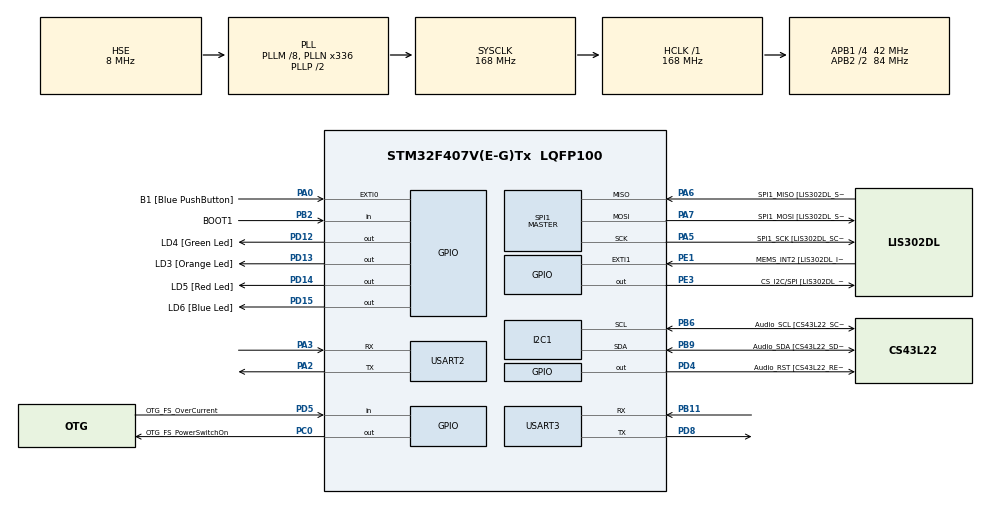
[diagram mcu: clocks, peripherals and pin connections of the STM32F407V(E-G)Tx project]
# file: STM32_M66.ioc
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Mcu.Family=STM32F4
Mcu.Name=STM32F407V(E-G)Tx
Mcu.Package=LQFP100
NVIC.PriorityGroup=NVIC_PRIORITYGROUP_0
NVIC.USART2_IRQn=true\:0\:0\:false\:false\:true\:true\:true\:true
NVIC.USART3_IRQn=true\:0\:0\:false\:false\:true\:true\:true\:true
PA0-WKUP.GPIO_Label=B1 [Blue PushButton]
PA0-WKUP.GPIO_ModeDefaultEXTI=GPIO_MODE_EVT_RISING
PA0-WKUP.GPIO_PuPd=GPIO_NOPULL
PA0-WKUP.Signal=GPXTI0
PA10.GPIO_Label=OTG_FS_ID
PA10.GPIO_Mode=GPIO_MODE_AF_PP
PA10.GPIO_PuPd=GPIO_NOPULL
PA10.GPIO_Speed=GPIO_SPEED_FREQ_LOW
PA10.Signal=USB_OTG_FS_ID
PA11.GPIO_Label=OTG_FS_DM
PA11.GPIO_Mode=GPIO_MODE_AF_PP
PA11.GPIO_PuPd=GPIO_NOPULL
PA11.GPIO_Speed=GPIO_SPEED_FREQ_LOW
PA11.Signal=USB_OTG_FS_DM
PA12.GPIO_Label=OTG_FS_DP
PA12.GPIO_Mode=GPIO_MODE_AF_PP
PA12.GPIO_PuPd=GPIO_NOPULL
PA12.GPIO_Speed=GPIO_SPEED_FREQ_LOW
PA12.Signal=USB_OTG_FS_DP
PA13.GPIO_Label=SWDIO
PA13.Mode=Serial_Wire
PA13.Signal=SYS_JTMS-SWDIO
PA14.GPIO_Label=SWCLK
PA14.Mode=Serial_Wire
PA14.Signal=SYS_JTCK-SWCLK
PA2.Mode=Asynchronous
PA2.Signal=USART2_TX
PA3.Mode=Asynchronous
PA3.Signal=USART2_RX
PA4.GPIO_Label=I2S3_WS [CS43L22_LRCK]
PA4.GPIO_Mode=GPIO_MODE_AF_PP
PA4.GPIO_PuPd=GPIO_NOPULL
PA4.GPIO_Speed=GPIO_SPEED_FREQ_LOW
PA4.Signal=I2S3_WS
PA5.GPIO_Label=SPI1_SCK [LIS302DL_SCL/SPC]
PA5.GPIO_Mode=GPIO_MODE_AF_PP
PA5.GPIO_PuPd=GPIO_NOPULL
PA5.GPIO_Speed=GPIO_SPEED_FREQ_LOW
PA5.Mode=Full_Duplex_Master
PA5.Signal=SPI1_SCK
PA6.GPIO_Label=SPI1_MISO [LIS302DL_SDO]
PA6.GPIO_Mode=GPIO_MODE_AF_PP
PA6.GPIO_PuPd=GPIO_NOPULL
PA6.GPIO_Speed=GPIO_SPEED_FREQ_LOW
PA6.Mode=Full_Duplex_Master
PA6.Signal=SPI1_MISO
PA7.GPIO_Label=SPI1_MOSI [LIS302DL_SDA/SDI/SDO]
PA7.GPIO_Mode=GPIO_MODE_AF_PP
PA7.GPIO_PuPd=GPIO_NOPULL
PA7.GPIO_Speed=GPIO_SPEED_FREQ_LOW
PA7.Mode=Full_Duplex_Master
PA7.Signal=SPI1_MOSI
PA9.GPIO_Label=VBUS_FS
PA9.GPIO_Mode=GPIO_MODE_INPUT
PA9.GPIO_PuPd=GPIO_NOPULL
PA9.Signal=USB_OTG_FS_VBUS
PB10.GPIO_Label=CLK_IN [MP45DT02_CLK]
PB10.GPIO_Mode=GPIO_MODE_AF_PP
PB10.GPIO_PuPd=GPIO_NOPULL
PB10.GPIO_Speed=GPIO_SPEED_FREQ_LOW
PB10.Signal=I2S2_CK
PB11.Mode=Asynchronous
PB11.Signal=USART3_RX
PB2.GPIO_Label=BOOT1
PB2.GPIO_Mode=GPIO_MODE_INPUT
PB2.GPIO_PuPd=GPIO_NOPULL
PB2.Signal=GPIO_Input
PB3.GPIO_Label=SWO
PB3.Signal=SYS_JTDO-SWO
PB6.GPIO_Label=Audio_SCL [CS43L22_SCL]
PB6.GPIO_Mode=GPIO_MODE_AF_OD
PB6.GPIO_Pu=GPIO_PULLUP
PB6.GPIO_PuPd=GPIO_NOPULL
PB6.GPIO_Speed=GPIO_SPEED_FREQ_LOW
PB6.Mode=I2C
PB6.Signal=I2C1_SCL
PB9.GPIO_Label=Audio_SDA [CS43L22_SDA]
PB9.GPIO_Mode=GPIO_MODE_AF_OD
PB9.GPIO_Pu=GPIO_PULLUP
PB9.GPIO_PuPd=GPIO_NOPULL
PB9.GPIO_Speed=GPIO_SPEED_FREQ_LOW
PB9.Mode=I2C
PB9.Signal=I2C1_SDA
PC0.GPIO_Label=OTG_FS_PowerSwitchOn
PC0.GPIO_PuPd=GPIO_NOPULL
PC0.GPIO_Speed=GPIO_SPEED_FREQ_LOW
PC0.PinState=GPIO_PIN_SET
PC0.Signal=GPIO_Output
PC10.GPIO_Label=I2S3_SCK [CS43L22_SCLK]
PC10.GPIO_Mode=GPIO_MODE_AF_PP
PC10.GPIO_PuPd=GPIO_NOPULL
PC10.GPIO_Speed=GPIO_SPEED_FREQ_LOW
PC10.Signal=I2S3_CK
PC12.GPIO_Label=I2S3_SD [CS43L22_SDIN]
PC12.GPIO_Mode=GPIO_MODE_AF_PP
PC12.GPIO_PuPd=GPIO_NOPULL
PC12.GPIO_Speed=GPIO_SPEED_FREQ_LOW
PC12.Signal=I2S3_SD
PC14-OSC32_IN.GPIO_Label=PC14-OSC32_IN
PC14-OSC32_IN.Mode=LSE-External-Oscillator
PC14-OSC32_IN.Signal=RCC_OSC32_IN
PC15-OSC32_OUT.GPIO_Label=PC15-OSC32_OUT
PC15-OSC32_OUT.Mode=LSE-External-Oscillator
PC15-OSC32_OUT.Signal=RCC_OSC32_OUT
PC3.GPIO_Label=PDM_OUT [MP45DT02_DOUT]
PC3.GPIO_Mode=GPIO_MODE_AF_PP
PC3.GPIO_PuPd=GPIO_NOPULL
PC3.GPIO_Speed=GPIO_SPEED_FREQ_LOW
PC3.Signal=I2S2_SD
PC7.GPIO_Label=I2S3_MCK [CS43L22_MCLK]
PC7.GPIO_Mode=GPIO_MODE_AF_PP
PC7.GPIO_PuPd=GPIO_NOPULL
PC7.GPIO_Speed=GPIO_SPEED_FREQ_LOW
PC7.Signal=I2S3_MCK
PD12.GPIO_Label=LD4 [Green Led]
PD12.GPIO_PuPd=GPIO_NOPULL
PD12.GPIO_Speed=GPIO_SPEED_FREQ_LOW
PD12.Signal=GPIO_Output
PD13.GPIO_Label=LD3 [Orange Led]
PD13.GPIO_PuPd=GPIO_NOPULL
PD13.GPIO_Speed=GPIO_SPEED_FREQ_LOW
PD13.Signal=GPIO_Output
PD14.GPIO_Label=LD5 [Red Led]
PD14.GPIO_PuPd=GPIO_NOPULL
PD14.GPIO_Speed=GPIO_SPEED_FREQ_LOW
PD14.Signal=GPIO_Output
PD15.GPIO_Label=LD6 [Blue Led]
PD15.GPIO_PuPd=GPIO_NOPULL
PD15.GPIO_Speed=GPIO_SPEED_FREQ_LOW
PD15.Signal=GPIO_Output
PD4.GPIO_Label=Audio_RST [CS43L22_RESET]
PD4.GPIO_PuPd=GPIO_NOPULL
PD4.GPIO_Speed=GPIO_SPEED_FREQ_LOW
PD4.Signal=GPIO_Output
PD5.GPIO_Label=OTG_FS_OverCurrent
PD5.GPIO_Mode=GPIO_MODE_INPUT
PD5.GPIO_PuPd=GPIO_NOPULL
PD5.Signal=GPIO_Input
PD8.Mode=Asynchronous
PD8.Signal=USART3_TX
PE1.GPIO_Label=MEMS_INT2 [LIS302DL_INT2]
PE1.GPIO_ModeDefaultEXTI=GPIO_MODE_EVT_RISING
PE1.GPIO_PuPd=GPIO_NOPULL
PE1.Signal=GPXTI1
PE3.GPIO_Label=CS_I2C/SPI [LIS302DL_CS_I2C/SPI]
PE3.GPIO_PuPd=GPIO_NOPULL
PE3.GPIO_Speed=GPIO_SPEED_FREQ_LOW
PE3.Signal=GPIO_Output
PH0-OSC_IN.GPIO_Label=PH0-OSC_IN
PH0-OSC_IN.Mode=HSE-External-Oscillator
PH0-OSC_IN.Signal=RCC_OSC_IN
PH1-OSC_OUT.GPIO_Label=PH1-OSC_OUT
PH1-OSC_OUT.Mode=HSE-External-Oscillator
PH1-OSC_OUT.Signal=RCC_OSC_OUT
ProjectManager.HeapSize=0x200
ProjectManager.StackSize=0x400
ProjectManager.TargetToolchain=STM32CubeIDE
RCC.48MHZClocksFreq_Value=48000000
RCC.AHBFreq_Value=168000000
RCC.APB1CLKDivider=RCC_HCLK_DIV4
RCC.APB1Freq_Value=42000000
RCC.APB1TimFreq_Value=84000000
RCC.APB2CLKDivider=RCC_HCLK_DIV2
RCC.APB2Freq_Value=84000000
RCC.APB2TimFreq_Value=168000000
RCC.CortexFreq_Value=168000000
RCC.HCLKFreq_Value=168000000
RCC.HSE_VALUE=8000000
RCC.HSI_VALUE=16000000
RCC.PLLM=8
RCC.PLLN=336
RCC.PLLQ=7
RCC.PLLSourceVirtual=RCC_PLLSOURCE_HSE
RCC.SYSCLKFreq_VALUE=168000000
RCC.SYSCLKSource=RCC_SYSCLKSOURCE_PLLCLK
RCC.VCOOutputFreq_Value=336000000
SPI1.BaudRatePrescaler-Full_Duplex_Master=SPI_BAUDRATEPRESCALER_2
SPI1.CalculateBaudRate-Full_Duplex_Master=42.0 MBits/s
SPI1.Direction=SPI_DIRECTION_2LINES
SPI1.Mode=SPI_MODE_MASTER
SPI1.Mode-Full_Duplex_Master=SPI_MODE_MASTER
SPI1.VirtualType=VM_MASTER
USART2.VirtualMode=VM_ASYNC
USART3.VirtualMode=VM_ASYNC
board=STM32F407G-DISC1

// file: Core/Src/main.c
/* USER CODE BEGIN Header */
/**
  ******************************************************************************
  * @file           : main.c
  * @brief          : Main program body
  ******************************************************************************
  * @attention
  *
  * Copyright (c) 2023 STMicroelectronics.
  * All rights reserved.
  *
  * This software is licensed under terms that can be found in the LICENSE file
  * in the root directory of this software component.
  * If no LICENSE file comes with this software, it is provided AS-IS.
  *
  ******************************************************************************
  */
/* USER CODE END Header */
#include "main.h"

/* USER CODE BEGIN Includes */
#include "stm32f4xx_hal.h"
#include "M66.h"
#include <string.h>
#include "stdbool.h"
#include "at_commands.h"

/* USER CODE END Includes */

/* USER CODE BEGIN PD */
// Define the maximum size of the firmware buffer

const char* url ;
/* USER CODE END PD */

I2C_HandleTypeDef hi2c1;

SPI_HandleTypeDef hspi1;

UART_HandleTypeDef huart2;
UART_HandleTypeDef huart3;

void SystemClock_Config(void);
static void MX_GPIO_Init(void);
static void MX_I2C1_Init(void);
static void MX_SPI1_Init(void);
static void MX_USART2_UART_Init(void);
static void MX_USART3_UART_Init(void);
/* USER CODE BEGIN PFP */
void modem_setup(void);
/* USER CODE END PFP */

/* USER CODE BEGIN 0 */
void LED_Init(void) {
    // Enable the GPIOD clock
    RCC->AHB1ENR |= RCC_AHB1ENR_GPIODEN;

    // Initialize PD12 as an output
    GPIOD->MODER &= ~GPIO_MODER_MODER12;   // Clear the mode bits for PD12
    GPIOD->MODER |= GPIO_MODER_MODER12_0;  // Set PD12 as output
}

void LED_Toggle(void) {
    GPIOD->ODR ^= GPIO_ODR_OD12;  // Toggle the output on PD12
}

/* USER CODE END 0 */

int main(void)
{
  /* USER CODE BEGIN 1 */
  // Set the VTOR to the application's start address
  SCB->VTOR = APP_START_ADDR;
  /* USER CODE END 1 */

  /* MCU Configuration--------------------------------------------------------*/

  /* Reset of all peripherals, Initializes the Flash interface and the Systick. */
  HAL_Init();

  /* USER CODE BEGIN Init */
  LED_Init();
  /* USER CODE END Init */

  /* Configure the system clock */
  SystemClock_Config();

  /* Initialize all configured peripherals */
  MX_GPIO_Init();
  MX_I2C1_Init();
  MX_SPI1_Init();
  MX_USART2_UART_Init();
  MX_USART3_UART_Init();
  /* USER CODE BEGIN 2 */
  modem_setup();

//  HAL_UART_Receive_IT(&huart2, (uint8_t*)uart_rx_buffer, 180);

  /* USER CODE END 2 */

  /* Infinite loop */
  while (1)
  {
//	  HAL_UART_Receive_IT(&huart2, (uint8_t*)uart_rx_buffer, 170);

    /* USER CODE BEGIN 3 */

    firmware_update_handler();
//     Toggle the LED
    LED_Toggle();

    // Simple delay
    HAL_Delay(1000);

  /* USER CODE END 3 */
  }
}

void SystemClock_Config(void)
{
  RCC_OscInitTypeDef RCC_OscInitStruct = {0};
  RCC_ClkInitTypeDef RCC_ClkInitStruct = {0};

  /** Configure the main internal regulator output voltage
  */
  __HAL_RCC_PWR_CLK_ENABLE();
  __HAL_PWR_VOLTAGESCALING_CONFIG(PWR_REGULATOR_VOLTAGE_SCALE1);

  /** Initializes the RCC Oscillators according to the specified parameters
  * in the RCC_OscInitTypeDef structure.
  */
  RCC_OscInitStruct.OscillatorType = RCC_OSCILLATORTYPE_HSE;
  RCC_OscInitStruct.HSEState = RCC_HSE_ON;
  RCC_OscInitStruct.PLL.PLLState = RCC_PLL_ON;
  RCC_OscInitStruct.PLL.PLLSource = RCC_PLLSOURCE_HSE;
  RCC_OscInitStruct.PLL.PLLM = 8;
  RCC_OscInitStruct.PLL.PLLN = 336;
  RCC_OscInitStruct.PLL.PLLP = RCC_PLLP_DIV2;
  RCC_OscInitStruct.PLL.PLLQ = 7;
  if (HAL_RCC_OscConfig(&RCC_OscInitStruct) != HAL_OK)
  {
    Error_Handler();
  }

  /** Initializes the CPU, AHB and APB buses clocks
  */
  RCC_ClkInitStruct.ClockType = RCC_CLOCKTYPE_HCLK|RCC_CLOCKTYPE_SYSCLK
                              |RCC_CLOCKTYPE_PCLK1|RCC_CLOCKTYPE_PCLK2;
  RCC_ClkInitStruct.SYSCLKSource = RCC_SYSCLKSOURCE_PLLCLK;
  RCC_ClkInitStruct.AHBCLKDivider = RCC_SYSCLK_DIV1;
  RCC_ClkInitStruct.APB1CLKDivider = RCC_HCLK_DIV4;
  RCC_ClkInitStruct.APB2CLKDivider = RCC_HCLK_DIV2;

  if (HAL_RCC_ClockConfig(&RCC_ClkInitStruct, FLASH_LATENCY_5) != HAL_OK)
  {
    Error_Handler();
  }
}

static void MX_I2C1_Init(void)
{

  hi2c1.Instance = I2C1;
  hi2c1.Init.ClockSpeed = 100000;
  hi2c1.Init.DutyCycle = I2C_DUTYCYCLE_2;
  hi2c1.Init.OwnAddress1 = 0;
  hi2c1.Init.AddressingMode = I2C_ADDRESSINGMODE_7BIT;
  hi2c1.Init.DualAddressMode = I2C_DUALADDRESS_DISABLE;
  hi2c1.Init.OwnAddress2 = 0;
  hi2c1.Init.GeneralCallMode = I2C_GENERALCALL_DISABLE;
  hi2c1.Init.NoStretchMode = I2C_NOSTRETCH_DISABLE;
  if (HAL_I2C_Init(&hi2c1) != HAL_OK)
  {
    Error_Handler();
  }

}

	static void MX_SPI1_Init(void)
	{

	  /* SPI1 parameter configuration*/
	  hspi1.Instance = SPI1;
	  hspi1.Init.Mode = SPI_MODE_MASTER;
	  hspi1.Init.Direction = SPI_DIRECTION_2LINES;
	  hspi1.Init.DataSize = SPI_DATASIZE_8BIT;
	  hspi1.Init.CLKPolarity = SPI_POLARITY_LOW;
	  hspi1.Init.CLKPhase = SPI_PHASE_1EDGE;
	  hspi1.Init.NSS = SPI_NSS_SOFT;
	  hspi1.Init.BaudRatePrescaler = SPI_BAUDRATEPRESCALER_2;
	  hspi1.Init.FirstBit = SPI_FIRSTBIT_MSB;
	  hspi1.Init.TIMode = SPI_TIMODE_DISABLE;
	  hspi1.Init.CRCCalculation = SPI_CRCCALCULATION_DISABLE;
	  hspi1.Init.CRCPolynomial = 10;
	  if (HAL_SPI_Init(&hspi1) != HAL_OK)
	  {
		Error_Handler();
	  }

	}

static void MX_USART2_UART_Init(void)
{

  huart2.Instance = USART2;
  huart2.Init.BaudRate = 115200;
  huart2.Init.WordLength = UART_WORDLENGTH_8B;
  huart2.Init.StopBits = UART_STOPBITS_1;
  huart2.Init.Parity = UART_PARITY_NONE;
  huart2.Init.Mode = UART_MODE_TX_RX;
  huart2.Init.HwFlowCtl = UART_HWCONTROL_NONE;
  huart2.Init.OverSampling = UART_OVERSAMPLING_16;
  if (HAL_UART_Init(&huart2) != HAL_OK)
  {
    Error_Handler();
  }

}

static void MX_USART3_UART_Init(void)
{

  huart3.Instance = USART3;
  huart3.Init.BaudRate = 115200;
  huart3.Init.WordLength = UART_WORDLENGTH_8B;
  huart3.Init.StopBits = UART_STOPBITS_1;
  huart3.Init.Parity = UART_PARITY_NONE;
  huart3.Init.Mode = UART_MODE_TX_RX;
  huart3.Init.HwFlowCtl = UART_HWCONTROL_NONE;
  huart3.Init.OverSampling = UART_OVERSAMPLING_16;
  if (HAL_UART_Init(&huart3) != HAL_OK)
  {
    Error_Handler();
  }

}

static void MX_GPIO_Init(void)
{
  GPIO_InitTypeDef GPIO_InitStruct = {0};

  /* GPIO Ports Clock Enable */
  __HAL_RCC_GPIOE_CLK_ENABLE();
  __HAL_RCC_GPIOC_CLK_ENABLE();
  __HAL_RCC_GPIOH_CLK_ENABLE();
  __HAL_RCC_GPIOA_CLK_ENABLE();
  __HAL_RCC_GPIOB_CLK_ENABLE();
  __HAL_RCC_GPIOD_CLK_ENABLE();

  /*Configure GPIO pin Output Level */
  HAL_GPIO_WritePin(CS_I2C_SPI_GPIO_Port, CS_I2C_SPI_Pin, GPIO_PIN_RESET);

  /*Configure GPIO pin Output Level */
  HAL_GPIO_WritePin(OTG_FS_PowerSwitchOn_GPIO_Port, OTG_FS_PowerSwitchOn_Pin, GPIO_PIN_SET);

  /*Configure GPIO pin Output Level */
  HAL_GPIO_WritePin(GPIOD, LD4_Pin|LD3_Pin|LD5_Pin|LD6_Pin
                          |Audio_RST_Pin, GPIO_PIN_RESET);

  /*Configure GPIO pin : CS_I2C_SPI_Pin */
  GPIO_InitStruct.Pin = CS_I2C_SPI_Pin;
  GPIO_InitStruct.Mode = GPIO_MODE_OUTPUT_PP;
  GPIO_InitStruct.Pull = GPIO_NOPULL;
  GPIO_InitStruct.Speed = GPIO_SPEED_FREQ_LOW;
  HAL_GPIO_Init(CS_I2C_SPI_GPIO_Port, &GPIO_InitStruct);

  /*Configure GPIO pin : OTG_FS_PowerSwitchOn_Pin */
  GPIO_InitStruct.Pin = OTG_FS_PowerSwitchOn_Pin;
  GPIO_InitStruct.Mode = GPIO_MODE_OUTPUT_PP;
  GPIO_InitStruct.Pull = GPIO_NOPULL;
  GPIO_InitStruct.Speed = GPIO_SPEED_FREQ_LOW;
  HAL_GPIO_Init(OTG_FS_PowerSwitchOn_GPIO_Port, &GPIO_InitStruct);

  /*Configure GPIO pin : PDM_OUT_Pin */
  GPIO_InitStruct.Pin = PDM_OUT_Pin;
  GPIO_InitStruct.Mode = GPIO_MODE_AF_PP;
  GPIO_InitStruct.Pull = GPIO_NOPULL;
  GPIO_InitStruct.Speed = GPIO_SPEED_FREQ_LOW;
  GPIO_InitStruct.Alternate = GPIO_AF5_SPI2;
  HAL_GPIO_Init(PDM_OUT_GPIO_Port, &GPIO_InitStruct);

  /*Configure GPIO pin : B1_Pin */
  GPIO_InitStruct.Pin = B1_Pin;
  GPIO_InitStruct.Mode = GPIO_MODE_EVT_RISING;
  GPIO_InitStruct.Pull = GPIO_NOPULL;
  HAL_GPIO_Init(B1_GPIO_Port, &GPIO_InitStruct);

  /*Configure GPIO pin : I2S3_WS_Pin */
  GPIO_InitStruct.Pin = I2S3_WS_Pin;
  GPIO_InitStruct.Mode = GPIO_MODE_AF_PP;
  GPIO_InitStruct.Pull = GPIO_NOPULL;
  GPIO_InitStruct.Speed = GPIO_SPEED_FREQ_LOW;
  GPIO_InitStruct.Alternate = GPIO_AF6_SPI3;
  HAL_GPIO_Init(I2S3_WS_GPIO_Port, &GPIO_InitStruct);

  /*Configure GPIO pin : BOOT1_Pin */
  GPIO_InitStruct.Pin = BOOT1_Pin;
  GPIO_InitStruct.Mode = GPIO_MODE_INPUT;
  GPIO_InitStruct.Pull = GPIO_NOPULL;
  HAL_GPIO_Init(BOOT1_GPIO_Port, &GPIO_InitStruct);

  /*Configure GPIO pin : CLK_IN_Pin */
  GPIO_InitStruct.Pin = CLK_IN_Pin;
  GPIO_InitStruct.Mode = GPIO_MODE_AF_PP;
  GPIO_InitStruct.Pull = GPIO_NOPULL;
  GPIO_InitStruct.Speed = GPIO_SPEED_FREQ_LOW;
  GPIO_InitStruct.Alternate = GPIO_AF5_SPI2;
  HAL_GPIO_Init(CLK_IN_GPIO_Port, &GPIO_InitStruct);

  /*Configure GPIO pins : LD4_Pin LD3_Pin LD5_Pin LD6_Pin
                           Audio_RST_Pin */
  GPIO_InitStruct.Pin = LD4_Pin|LD3_Pin|LD5_Pin|LD6_Pin
                          |Audio_RST_Pin;
  GPIO_InitStruct.Mode = GPIO_MODE_OUTPUT_PP;
  GPIO_InitStruct.Pull = GPIO_NOPULL;
  GPIO_InitStruct.Speed = GPIO_SPEED_FREQ_LOW;
  HAL_GPIO_Init(GPIOD, &GPIO_InitStruct);

  /*Configure GPIO pins : I2S3_MCK_Pin I2S3_SCK_Pin I2S3_SD_Pin */
  GPIO_InitStruct.Pin = I2S3_MCK_Pin|I2S3_SCK_Pin|I2S3_SD_Pin;
  GPIO_InitStruct.Mode = GPIO_MODE_AF_PP;
  GPIO_InitStruct.Pull = GPIO_NOPULL;
  GPIO_InitStruct.Speed = GPIO_SPEED_FREQ_LOW;
  GPIO_InitStruct.Alternate = GPIO_AF6_SPI3;
  HAL_GPIO_Init(GPIOC, &GPIO_InitStruct);

  /*Configure GPIO pin : VBUS_FS_Pin */
  GPIO_InitStruct.Pin = VBUS_FS_Pin;
  GPIO_InitStruct.Mode = GPIO_MODE_INPUT;
  GPIO_InitStruct.Pull = GPIO_NOPULL;
  HAL_GPIO_Init(VBUS_FS_GPIO_Port, &GPIO_InitStruct);

  /*Configure GPIO pins : OTG_FS_ID_Pin OTG_FS_DM_Pin OTG_FS_DP_Pin */
  GPIO_InitStruct.Pin = OTG_FS_ID_Pin|OTG_FS_DM_Pin|OTG_FS_DP_Pin;
  GPIO_InitStruct.Mode = GPIO_MODE_AF_PP;
  GPIO_InitStruct.Pull = GPIO_NOPULL;
  GPIO_InitStruct.Speed = GPIO_SPEED_FREQ_LOW;
  GPIO_InitStruct.Alternate = GPIO_AF10_OTG_FS;
  HAL_GPIO_Init(GPIOA, &GPIO_InitStruct);

  /*Configure GPIO pin : OTG_FS_OverCurrent_Pin */
  GPIO_InitStruct.Pin = OTG_FS_OverCurrent_Pin;
  GPIO_InitStruct.Mode = GPIO_MODE_INPUT;
  GPIO_InitStruct.Pull = GPIO_NOPULL;
  HAL_GPIO_Init(OTG_FS_OverCurrent_GPIO_Port, &GPIO_InitStruct);

  /*Configure GPIO pin : MEMS_INT2_Pin */
  GPIO_InitStruct.Pin = MEMS_INT2_Pin;
  GPIO_InitStruct.Mode = GPIO_MODE_EVT_RISING;
  GPIO_InitStruct.Pull = GPIO_NOPULL;
  HAL_GPIO_Init(MEMS_INT2_GPIO_Port, &GPIO_InitStruct);

}

/* USER CODE BEGIN 4 */

void modem_setup(void)
{
    HAL_UART_Receive_IT(&huart2, &received_byte, 1);
    Initialize_Modem();
    SSL_Config();
    AWS_MQTT();
}

/* USER CODE END 4 */

void Error_Handler(void)
{
  __disable_irq();
  while (1)
  {
  }
}
